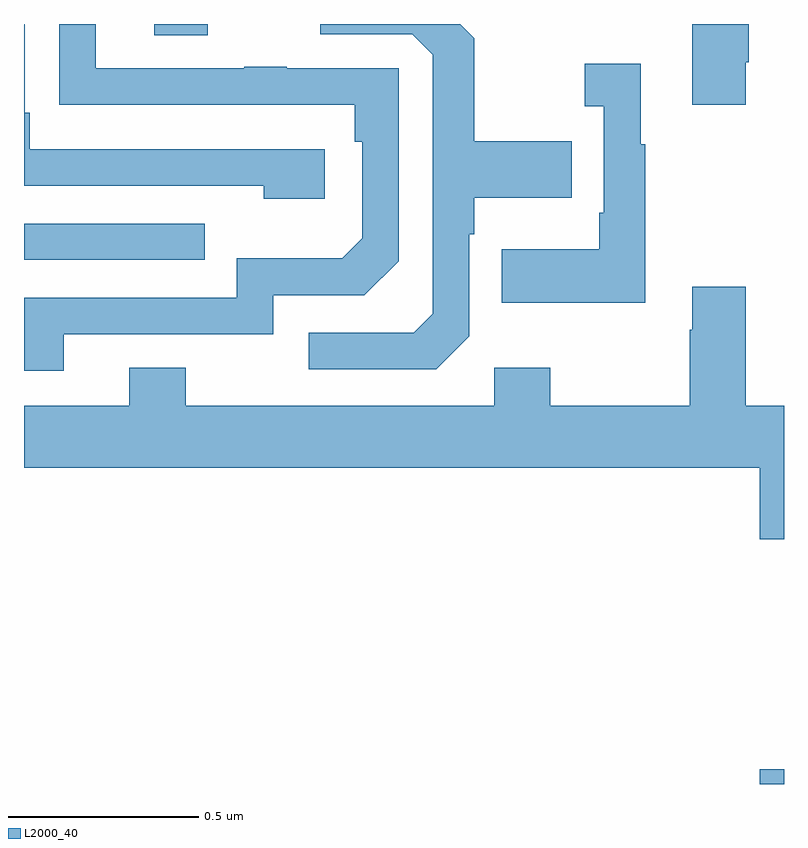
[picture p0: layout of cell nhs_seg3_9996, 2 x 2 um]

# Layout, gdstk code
import gdstk
lib = gdstk.Library(unit=1e-6, precision=1e-09)
def R(c, l, rs):  # rectangles x0, y0, x1, y1
    for r in rs: c.add(gdstk.rectangle(r[:2], r[2:], *l))
def P(c, l, *ps):  # polygons
    for p in ps: c.add(gdstk.Polygon(p, *l))
L2000_40 = (2000, 40)

nhs_seg3_9996 = lib.new_cell('nhs_seg3_9996')
R(nhs_seg3_9996, L2000_40, [(236.936,717.4,237,717.439), (235,718.779,235.475,718.875), (235.343,719.37,235.483,719.4)])
P(nhs_seg3_9996, L2000_40, [(236.899,719.299),(236.907,719.299),(236.907,719.4),(236.759,719.4),(236.759,719.187),(236.899,719.187)],
  [(236.172,718.578),(236.172,718.847),(236.185,718.847),(236.185,718.943),(236.441,718.943),(236.441,719.091),(236.185,719.091),(236.185,719.363),(236.148,719.4),(235.779,719.4),(235.779,719.373),(236.022,719.373),(236.076,719.319),(236.076,718.638),(236.025,718.587),(235.749,718.587),(235.749,718.491),(236.085,718.491)],
  [(235.105,718.584),(235.656,718.584),(235.656,718.686),(235.896,718.686),(235.986,718.776),(235.986,719.283),(235.691,719.283),(235.691,719.288),(235.579,719.288),(235.579,719.283),(235.189,719.283),(235.189,719.4),(235.093,719.4),(235.093,719.188),(235.195,719.188),(235.195,719.187),(235.87,719.187),(235.87,719.09),(235.89,719.09),(235.89,718.836),(235.837,718.783),(235.56,718.783),(235.56,718.68),(235,718.68),(235,718.488),(235.105,718.488)],
  [(235.792,719.07),(235.015,719.07),(235.015,719.167),(235.002,719.167),(235.002,719.4),(235,719.4),(235,718.974),(235.631,718.974),(235.631,718.94),(235.792,718.94)],
  [(236.635,719.083),(236.623,719.083),(236.623,719.296),(236.475,719.296),(236.475,719.183),(236.526,719.183),(236.526,718.903),(236.514,718.903),(236.514,718.807),(236.257,718.807),(236.257,718.667),(236.635,718.667)],
  [(237,718.396),(236.899,718.396),(236.899,718.708),(236.759,718.708),(236.759,718.595),(236.752,718.595),(236.752,718.396),(236.385,718.396),(236.385,718.495),(236.238,718.495),(236.238,718.396),(235.425,718.396),(235.425,718.495),(235.277,718.495),(235.277,718.396),(235,718.396),(235,718.232),(236.936,718.232),(236.936,718.044),(237,718.044)])

lib.write_gds('nhs_seg3_9996.gds')
